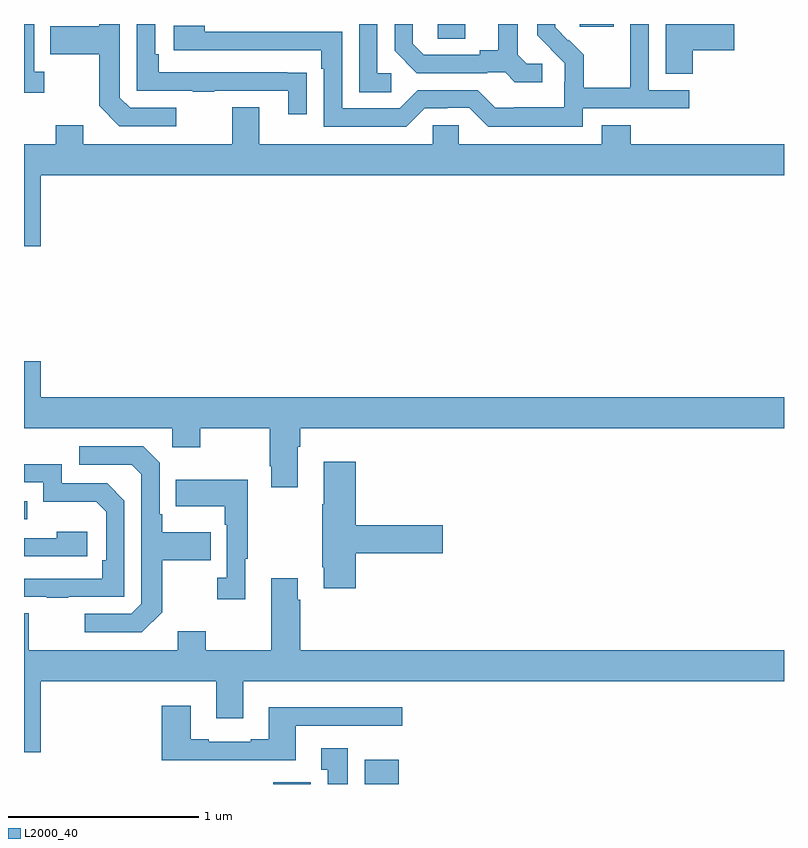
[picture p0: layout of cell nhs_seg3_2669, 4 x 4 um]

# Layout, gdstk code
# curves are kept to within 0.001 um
import gdstk
lib = gdstk.Library(unit=1e-6, precision=1e-09)
def R(c, l, rs):  # rectangles x0, y0, x1, y1
    for r in rs: c.add(gdstk.rectangle(r[:2], r[2:], *l))
def P(c, l, *ps):  # polygons
    for p in ps: c.add(gdstk.Polygon(p, *l))
L2000_40 = (2000, 40)

nhs_seg3_2669 = lib.new_cell('nhs_seg3_2669')
R(nhs_seg3_2669, L2000_40, [(250.313,676.4,250.51,676.408), (250.793,676.4,250.972,676.528), (249,677.793,249.017,677.889), (251.178,680.323,251.323,680.4), (251.924,680.385,252.103,680.4)])
P(nhs_seg3_2669, L2000_40, [(250.487,680.144),(250.385,680.144),(250.385,680.145),(249.71,680.145),(249.71,680.242),(249.69,680.242),(249.69,680.4),(249.594,680.4),(249.594,680.049),(249.889,680.049),(249.889,680.044),(250.001,680.044),(250.001,680.049),(250.391,680.049),(250.391,679.926),(250.487,679.926)],
  [(251.94,679.956),(252.502,679.956),(252.502,680.052),(252.288,680.052),(252.288,680.4),(252.192,680.4),(252.192,680.288),(252.19,680.288),(252.19,680.065),(251.945,680.065),(251.945,680.239),(251.868,680.316),(251.865,680.313),(251.795,680.384),(251.795,680.4),(251.7,680.4),(251.7,680.342),(251.846,680.194),(251.846,680.097),(251.844,680.097),(251.844,679.963),(251.581,679.963),(251.581,679.959),(251.481,679.959),(251.388,680.052),(251.073,680.052),(250.977,679.956),(250.674,679.956),(250.674,680.358),(249.95,680.358),(249.95,680.392),(249.789,680.392),(249.789,680.262),(250.565,680.262),(250.565,680.165),(250.578,680.165),(250.578,679.86),(251.013,679.86),(251.109,679.956),(251.228,679.956),(251.228,679.959),(251.343,679.959),(251.443,679.859),(251.94,679.859)],
  [(251.728,680.19),(251.646,680.19),(251.599,680.237),(251.599,680.4),(251.495,680.4),(251.495,680.261),(251.399,680.261),(251.399,680.238),(251.104,680.238),(251.047,680.295),(251.047,680.4),(250.95,680.4),(250.95,680.258),(251.066,680.142),(251.438,680.142),(251.438,680.145),(251.532,680.145),(251.584,680.093),(251.728,680.093)],
  [(250.933,680.142),(250.86,680.142),(250.86,680.4),(250.764,680.4),(250.764,680.041),(250.933,680.041)],
  [(249.106,680.15),(249.054,680.15),(249.054,680.4),(249,680.4),(249,680.037),(249.106,680.037)],
  [(249.802,679.959),(249.558,679.959),(249.504,680.013),(249.504,680.4),(249.396,680.4),(249.396,680.389),(249.139,680.389),(249.139,680.242),(249.396,680.242),(249.396,679.969),(249.501,679.863),(249.802,679.863)],
  [(252.521,680.261),(252.739,680.261),(252.739,680.4),(252.377,680.4),(252.377,680.137),(252.521,680.137)],
  [(249.088,679.604),(253,679.604),(253,679.768),(252.194,679.768),(252.194,679.867),(252.041,679.867),(252.041,679.768),(251.289,679.768),(251.289,679.866),(251.151,679.866),(251.151,679.768),(250.237,679.768),(250.237,679.963),(250.097,679.963),(250.097,679.768),(249.313,679.768),(249.313,679.867),(249.166,679.867),(249.166,679.768),(249,679.768),(249,679.23),(249.088,679.23)],
  [(249.088,678.625),(249,678.625),(249,678.272),(249.78,678.272),(249.78,678.173),(249.927,678.173),(249.927,678.272),(250.294,678.272),(250.294,678.073),(250.301,678.073),(250.301,677.961),(250.441,677.961),(250.441,678.176),(250.454,678.176),(250.454,678.272),(253,678.272),(253,678.436),(249.088,678.436)],
  [(249.727,677.305),(249.727,677.578),(249.983,677.578),(249.983,677.725),(249.727,677.725),(249.727,677.821),(249.714,677.821),(249.714,678.09),(249.627,678.177),(249.291,678.177),(249.291,678.081),(249.567,678.081),(249.618,678.03),(249.618,677.349),(249.564,677.295),(249.321,677.295),(249.321,677.199),(249.621,677.199)],
  [(250.745,677.615),(251.203,677.615),(251.203,677.762),(250.745,677.762),(250.745,678.097),(250.577,678.097),(250.577,677.873),(250.57,677.873),(250.57,677.542),(250.577,677.542),(250.577,677.43),(250.745,677.43)],
  [(249.233,677.385),(249.528,677.385),(249.528,677.892),(249.438,677.982),(249.198,677.982),(249.198,678.084),(249,678.084),(249,677.988),(249.102,677.988),(249.102,677.885),(249.379,677.885),(249.432,677.832),(249.432,677.578),(249.412,677.578),(249.412,677.481),(249,677.481),(249,677.385),(249.121,677.385),(249.121,677.38),(249.233,677.38)],
  [(250.165,677.585),(250.177,677.585),(250.177,678.001),(249.799,678.001),(249.799,677.861),(250.056,677.861),(250.056,677.765),(250.068,677.765),(250.068,677.486),(250.017,677.486),(250.017,677.373),(250.165,677.373)],
  [(249.334,677.728),(249.173,677.728),(249.173,677.694),(249,677.694),(249,677.598),(249.334,677.598)],
  [(249.088,676.94),(250.013,676.94),(250.013,676.746),(250.153,676.746),(250.153,676.94),(253,676.94),(253,677.104),(250.454,677.104),(250.454,677.369),(250.441,677.369),(250.441,677.482),(250.301,677.482),(250.301,677.104),(249.957,677.104),(249.957,677.203),(249.809,677.203),(249.809,677.104),(249.025,677.104),(249.025,677.299),(249,677.299),(249,676.566),(249.088,676.566)],
  [(250.429,676.707),(250.99,676.707),(250.99,676.804),(250.289,676.804),(250.289,676.636),(250.193,676.636),(250.193,676.623),(249.973,676.623),(249.973,676.636),(249.877,676.636),(249.877,676.813),(249.725,676.813),(249.725,676.526),(250.429,676.526)],
  [(250.705,676.588),(250.565,676.588),(250.565,676.475),(250.598,676.475),(250.598,676.4),(250.705,676.4)])

lib.write_gds('nhs_seg3_2669.gds')
